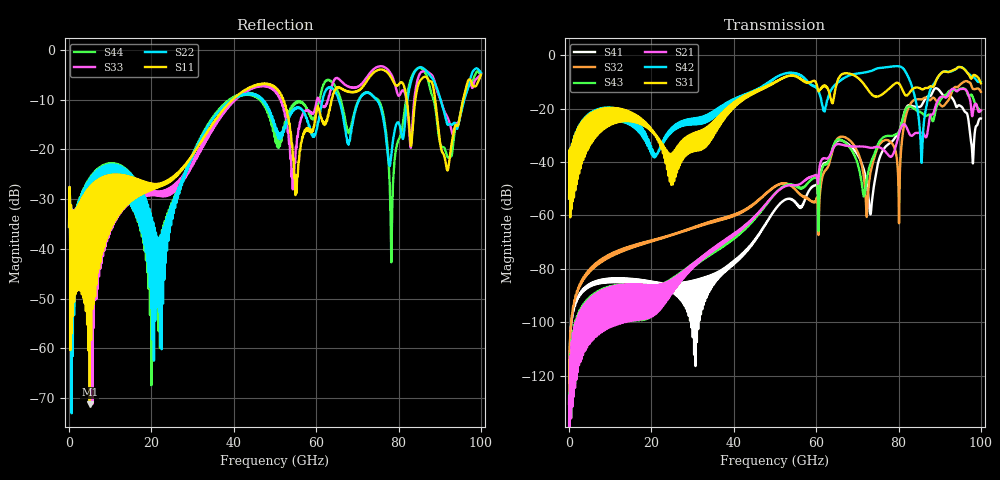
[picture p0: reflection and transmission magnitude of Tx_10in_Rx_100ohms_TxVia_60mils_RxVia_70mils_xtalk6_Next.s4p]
! Info: Touchstone file created by Circ.  Input file=Tx_10in_Rx_100ohms_TxVia_60mils_RxVia_70mils.circ
# Hz S RI R 50
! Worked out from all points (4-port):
!   10000 points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, 10 MHz to 100 GHz, reference 50 ohm
!   strongest paths, dB at 10 MHz, 25.01 GHz, 50.01 GHz, 75.01 GHz, 100 GHz:
!     S31: -53.7, -36.8, -10.2, -15.5, -10.5
!     S42: -53.7, -27.6, -8.6, -4.9, -10.0
!     S21: -139.5, -84.7, -51.9, -34.3, -20.7
!     S43: -137.5, -84.6, -51.7, -33.4, -20.9
!     S32: -130.5, -67.4, -49.1, -34.4, -13.7
!     S41: -130.5, -86.7, -57.8, -40.5, -23.7
!   lowest |S11| = -71.2 dB at 5.03 GHz (marker M1), VSWR 1.00, Z = 50 - j0.0273 ohm
!   |S11| at or under -10 dB: start of sweep to 39.7 GHz; 52.01 GHz to 63.73 GHz (11.72 GHz wide, 20.2 % of centre); 88.91 GHz to 95.7 GHz (6.795 GHz wide, 7.36 % of centre)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
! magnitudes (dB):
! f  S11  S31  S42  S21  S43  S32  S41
! 10 MHz  -35.5  -53.7  -53.7  -139.5  -137.5  -130.5  -130.5
! 5.03 GHz  -71.2  -33.8  -30.0  -98.9  -98.7  -80.5  -86.7
! 38.23 GHz  -11.2  -20.2  -18.1  -68.7  -69.3  -60.5  -79.7
! 62.95 GHz  -13.3  -12.9  -15.3  -38.5  -40.0  -41.5  -39.8
! 78.29 GHz  -5.6  -11.8  -4.3  -37.9  -30.2  -32.8  -32.5
! 85.59 GHz  -5.8  -12.7  -40.2  -29.1  -21.6  -16.6  -18.8
! 100 GHz  -5.0  -10.5  -10.0  -20.7  -20.9  -13.7  -23.7
